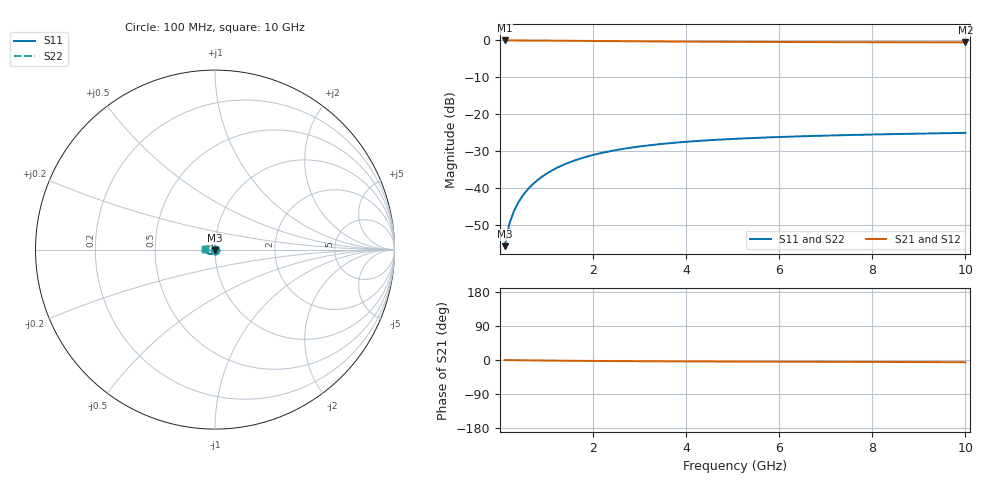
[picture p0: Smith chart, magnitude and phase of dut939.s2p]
! Touchstone file exported from HFSS 2024.1.0
!  File:  C:/UserFiles/LocalFiles/RDL_TSV_Batchsim/temp_TSV1_939_1779947948.aedt
!  Generated:  02:05:53 PM May 28, 2026
!  Design:  TSV1
!  Project:  temp_TSV1_939_1779947948
!  Setup:  Setup1
!  Solution:  Sweep
! Variables:
!  dtsv = 11.97um
!  hbump = 3um
!  htsv = 90.66um
!  lrdl = 252.1521522um
!  p = 40
!  p1 = 55.69um
!  t = 500um
!  trdl = 3um
!  wrdl = 24.89489489um
# GHz S MA R 50.000000
! Terminal data exported
! Port[1] = TSV22_T1
! Port[2] = TSV22_T2
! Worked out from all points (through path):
!   100 points, 100 MHz to 10 GHz, reference 50 ohm
!   highest |S21| = 0.00 dB at 100 MHz (marker M1); lowest = -0.5 dB at 10 GHz (marker M2)
!   lowest |S11| = -55.8 dB at 100 MHz (marker M3), VSWR 1.00, Z = 50 - j0.161 ohm
!   |S11| at or under -10 dB: start of sweep to end of sweep
!   |S22| runs from -55.8 to -25.1 dB; largest |S21 - S12| = 3e-15
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0.1  0.001613 -88.0  0.9998 -0.2  0.9998 -0.2  0.001613 -88.0
! Gamma 0 0 0 0
! Port Impedance 50 0 50 0
0.2  0.003219 -91.7  0.9997 -0.3  0.9997 -0.3  0.003219 -91.7
0.3  0.004824 -94.2  0.9994 -0.5  0.9994 -0.5  0.004824 -94.2
0.4  0.00642 -96.4  0.999 -0.6  0.999 -0.6  0.00642 -96.4
0.5  0.008002 -98.4  0.9985 -0.7  0.9985 -0.7  0.008002 -98.4
0.6  0.009565 -100.4  0.9979 -0.9  0.9979 -0.9  0.009565 -100.4
0.7  0.0111 -102.4  0.9973 -1.0  0.9973 -1.0  0.0111 -102.4
0.8  0.01262 -104.3  0.9965 -1.2  0.9965 -1.2  0.01262 -104.3
0.9  0.0141 -106.2  0.9957 -1.3  0.9957 -1.3  0.0141 -106.2
1.1  0.01696 -109.8  0.994 -1.6  0.994 -1.6  0.01696 -109.8
1.4  0.02096 -115.0  0.9909 -1.9  0.9909 -1.9  0.02096 -115.0
1.6  0.02343 -118.3  0.9887 -2.1  0.9887 -2.1  0.02343 -118.3
1.8  0.02573 -121.4  0.9865 -2.3  0.9865 -2.3  0.02573 -121.4
2.1  0.02888 -125.8  0.983 -2.6  0.983 -2.6  0.02888 -125.8
2.5  0.03254 -131.2  0.9786 -2.9  0.9786 -2.9  0.03254 -131.2
2.9  0.03567 -136.1  0.9744 -3.1  0.9744 -3.1  0.03567 -136.1
3.4  0.03892 -141.5  0.9696 -3.4  0.9696 -3.4  0.03892 -141.5
4.2  0.04298 -148.9  0.9632 -3.7  0.9632 -3.7  0.04298 -148.9
5.1  0.04635 -155.9  0.9576 -4.1  0.9576 -4.1  0.04635 -155.9
6.7  0.05048 -165.8  0.9506 -4.6  0.9506 -4.6  0.05048 -165.8
8.4  0.05347 -174.1  0.9458 -5.2  0.9458 -5.2  0.05347 -174.1
10  0.05562 179.4  0.9427 -5.8  0.9427 -5.8  0.05562 179.4
